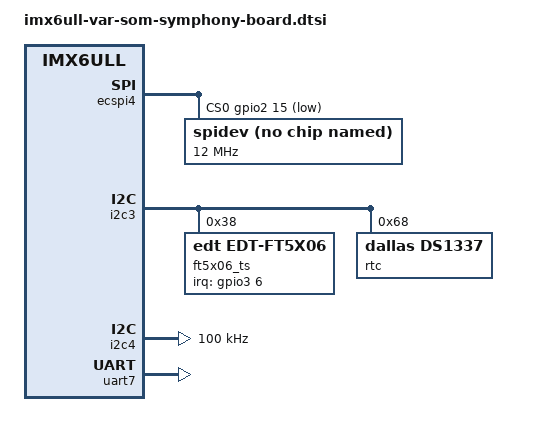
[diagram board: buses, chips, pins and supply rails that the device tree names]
/*
 * Copyright (C) 2022 Variscite Ltd. - https://www.variscite.com
 *
 * This program is free software; you can redistribute it and/or modify
 * it under the terms of the GNU General Public License version 2 as
 * published by the Free Software Foundation.
 */

#include "imx6ul-imx6ull-var-som-symphony-board.dtsi"

&ecspi4 {
	#address-cells = <1>;
	#size-cells = <0>;
	fsl,spi-num-chipselects = <1>;
	pinctrl-names = "default";
	pinctrl-0 = <&pinctrl_ecspi4 &pinctrl_ecspi4_cs>;
	cs-gpios = <&gpio2 15 GPIO_ACTIVE_LOW>;
	status = "okay";

	spidev@0 {
		compatible = "var,spidev";
		spi-max-frequency = <12000000>;
		reg = <0>;
		status = "okay";
	};
};

&i2c3 {
	clock_frequency = <100000>;
	pinctrl-names = "default";
	pinctrl-0 = <&pinctrl_i2c3>;
	status = "okay";

	ft5x06_ts@38 {
		compatible = "edt,edt-ft5x06";
		reg = <0x38>;
		pinctrl-names = "default";
		pinctrl-0 = <&pinctrl_ft5x06_ts_gpio>;
		interrupt-parent = <&gpio3>;
		interrupts = <6 0>;
		touchscreen-size-x = <800>;
		touchscreen-size-y = <480>;
		touchscreen-inverted-x;
		touchscreen-inverted-y;
	};

	/* DS1337 RTC module */
	rtc@68 {
		compatible = "dallas,ds1337";
		reg = <0x68>;
		pinctrl-names = "default";
	};
};

&i2c4 {
	clock-frequency = <100000>;
	pinctrl-names = "default";
	pinctrl-0 = <&pinctrl_i2c4>;
	status = "okay";
};

/* ttymxc6 UART */
&uart7 {
	pinctrl-names = "default";
	pinctrl-0 = <&pinctrl_uart7>;
	status = "okay";
};
